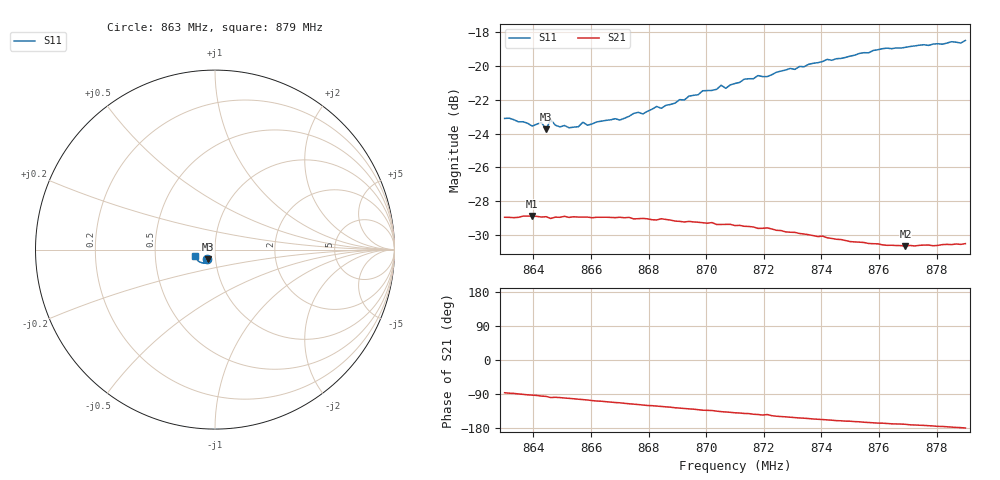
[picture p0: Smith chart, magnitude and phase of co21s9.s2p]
# HZ S RI R 50
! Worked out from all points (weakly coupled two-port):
!   101 points, 863 MHz to 879 MHz, reference 50 ohm
!   highest |S21| = -28.89 dB at 863.96 MHz (marker M1); lowest = -30.7 dB at 876.92 MHz (marker M2)
!   lowest |S11| = -23.7 dB at 864.44 MHz (marker M3), VSWR 1.14, Z = 46.1 - j4.94 ohm
!   |S11| at or under -10 dB: start of sweep to end of sweep
!   S12 and S22 are empty: the file has one direction only
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8.63e8  -0.0445 -0.054  0.00223 -0.0356  0 0  0 0
8.6396e8  -0.0394 -0.0534  -0.00168 -0.0359  0 0  0 0
8.6428e8  -0.0391 -0.0557  -0.00324 -0.0356  0 0  0 0
8.6444e8  -0.0374 -0.0532  -0.00376 -0.0356  0 0  0 0
8.646e8  -0.0413 -0.0557  -0.0056 -0.0349  0 0  0 0
8.6476e8  -0.0373 -0.0555  -0.00521 -0.0353  0 0  0 0
8.6524e8  -0.036 -0.0549  -0.00694 -0.0349  0 0  0 0
8.6556e8  -0.0359 -0.0556  -0.00832 -0.0347  0 0  0 0
8.6572e8  -0.0356 -0.0581  -0.00894 -0.0345  0 0  0 0
8.6588e8  -0.0343 -0.0573  -0.00953 -0.0344  0 0  0 0
8.67e8  -0.0327 -0.061  -0.0139 -0.0328  0 0  0 0
8.6828e8  -0.0363 -0.0667  -0.0183 -0.0298  0 0  0 0
8.6844e8  -0.0363 -0.0656  -0.019 -0.0297  0 0  0 0
8.6988e8  -0.0431 -0.0727  -0.0232 -0.0253  0 0  0 0
8.7036e8  -0.0448 -0.0726  -0.024 -0.024  0 0  0 0
8.7052e8  -0.0478 -0.0736  -0.0245 -0.0235  0 0  0 0
8.7068e8  -0.0452 -0.0731  -0.0249 -0.0231  0 0  0 0
8.71e8  -0.0477 -0.0749  -0.0255 -0.022  0 0  0 0
8.7372e8  -0.0689 -0.0751  -0.0287 -0.0129  0 0  0 0
8.7644e8  -0.0942 -0.0618  -0.0288 -0.00593  0 0  0 0
8.7692e8  -0.0977 -0.0581  -0.0288 -0.00523  0 0  0 0
8.79e8  -0.1129 -0.0381  -0.0298 -0.000263  0 0  0 0
